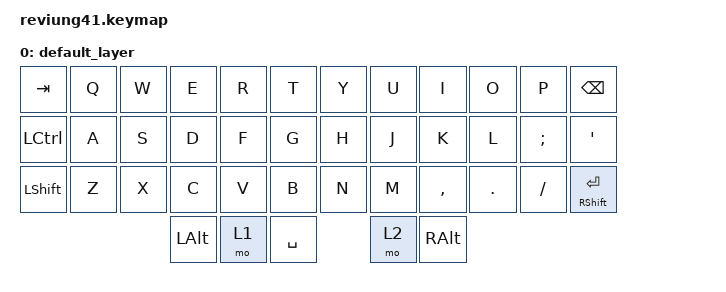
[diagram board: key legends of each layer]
/*
 * Copyright (c) 2020 The ZMK Contributors
 *
 * SPDX-License-Identifier: MIT
 */

#include <behaviors.dtsi>
#include <dt-bindings/zmk/keys.h>

/ {
        keymap {
                compatible = "zmk,keymap";

                default_layer {
// -------------------------------------------------------------------------------------
// |  TAB |  Q  |  W  |  E  |  R  |  T  |   |  Y  |  U   |  I  |  O  |  P  |   BKSP    |
// | CTRL |  A  |  S  |  D  |  F  |  G  |   |  H  |  J   |  K  |  L  |  ;  |    '      |
// | SHFT |  Z  |  X  |  C  |  V  |  B  |   |  N  |  M   |  ,  |  .  |  /  | SHFT(RET) |
//                         | ALT | LWR | SPC | RSE  | ALT |
                        bindings = <
   &kp TAB   &kp Q &kp W &kp E &kp R &kp T   &kp Y &kp U  &kp I     &kp O   &kp P    &kp BSPC
   &kp LCTRL &kp A &kp S &kp D &kp F &kp G   &kp H &kp J  &kp K     &kp L   &kp SEMI &kp SQT
   &kp LSHFT &kp Z &kp X &kp C &kp V &kp B   &kp N &kp M  &kp COMMA &kp DOT &kp FSLH &mt RSHFT RET
                        &kp LALT  &mo 1 &kp SPACE &mo 2  &kp RALT
                        >;
                };
        };
};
